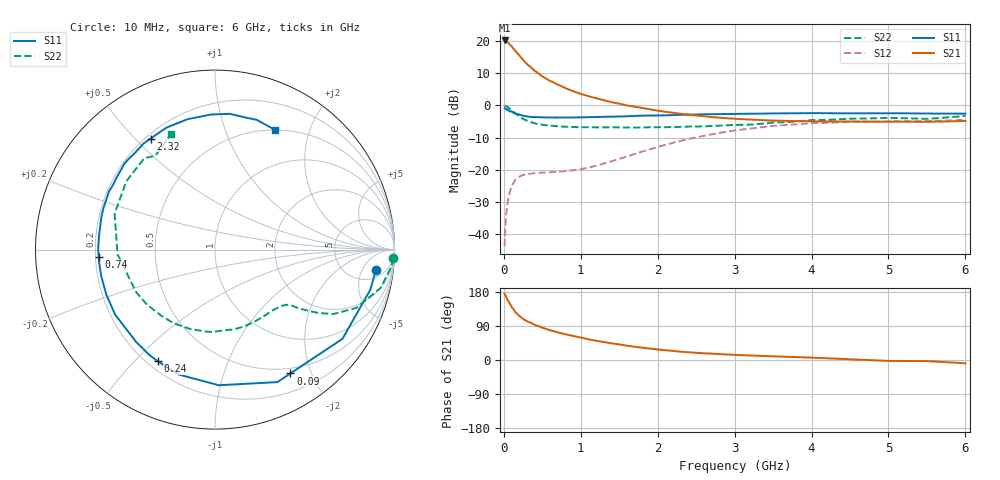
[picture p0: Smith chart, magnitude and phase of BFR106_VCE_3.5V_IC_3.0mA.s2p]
! Infineon Technologies  Discrete & RF Semiconductors
! BFR106
! VCE =  3.5 V,  IC =  3.0 mA
! Common Emitter S-Parameters:  Nov 2015
# GHz  S  MA  R  50
!  f  S11  S21  S12  S22
! GHz  MAG  ANG  MAG  ANG  MAG  ANG  MAG  ANG
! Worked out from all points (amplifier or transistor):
!   210 points, 10 MHz to 6 GHz, reference 50 ohm
!   highest |S21| = 20.2 dB at 10 MHz (marker M1)
!   |S21| within 3 dB of that: start of sweep to 140.5 MHz
!   unconditionally stable (mu >= 1): 717.5 MHz to 2.016 GHz; 4.14 GHz to end of sweep
!   at 185 MHz: K = 0.29, MSG = 19.2 dB, |S12| = -22.4 dB
!   at 1.52 GHz: K = 1.17, MAG = 5.9 dB, |S12| = -16.5 dB
!   at 6 GHz: K = 1.02, MAG = -1.1 dB, |S12| = -4.5 dB
!   S11 on the Smith chart (normalised r, x): 10 MHz: 8, -10; 90 MHz: 0.43, -1.70; 240 MHz: 0.24, -0.59; 740 MHz: 0.21, -0.03; 2.32 GHz: 0.22, +0.56; 6 GHz: 0.50, +1.50
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0.01  0.903 -7.4  10.26 174.7  0.0065 86.9  0.9955 -2.8
0.02  0.8941 -14.4  10.21 171.1  0.0133 84.4  0.988 -5.4
0.05  0.867 -35.0  9.637 157.7  0.032 71.4  0.9482 -12.9
0.09  0.8078 -58.7  8.559 144.3  0.0506 59.2  0.8684 -20.4
0.1  0.8159 -64.8  8.373 140.5  0.0554 57.4  0.851 -22.5
0.15  0.756 -88.4  7.047 126.0  0.0699 46.7  0.7518 -28.5
0.2  0.7248 -105.9  5.985 116.5  0.0781 40.5  0.6772 -31.5
0.24  0.6994 -117.1  5.259 110.1  0.0824 36.9  0.6302 -33.0
0.26  0.6913 -122.1  4.949 107.2  0.0839 35.5  0.6109 -33.6
0.3  0.6763 -130.6  4.41 102.3  0.0858 33.7  0.5807 -34.7
0.4  0.6639 -147.0  3.482 92.9  0.089 31.0  0.5275 -36.2
0.5  0.6552 -157.5  2.831 85.2  0.0905 31.1  0.5006 -37.9
0.6  0.651 -166.8  2.412 78.6  0.0918 32.5  0.4859 -40.3
0.74  0.6493 -176.6  2.007 71.1  0.0939 36.4  0.4721 -44.3
1.02  0.6535 167.8  1.49 58.0  0.1034 47.0  0.4604 -53.7
1.4  0.6734 151.4  1.124 44.1  0.1356 59.8  0.4585 -69.2
2.02  0.6995 129.5  0.824 27.4  0.2301 63.8  0.4593 -98.7
2.32  0.7151 120.1  0.739 21.6  0.2862 60.7  0.4655 -114.7
3.1  0.7427 99.8  0.613 12.8  0.4223 45.6  0.4998 -157.1
4.1  0.759 82.5  0.565 5.4  0.5339 24.1  0.5949 156.7
5.1  0.7569 71.2  0.56 -2.5  0.5677 7.5  0.6385 126.7
6  0.7465 63.3  0.574 -8.7  0.5975 -3.5  0.6872 111.0
